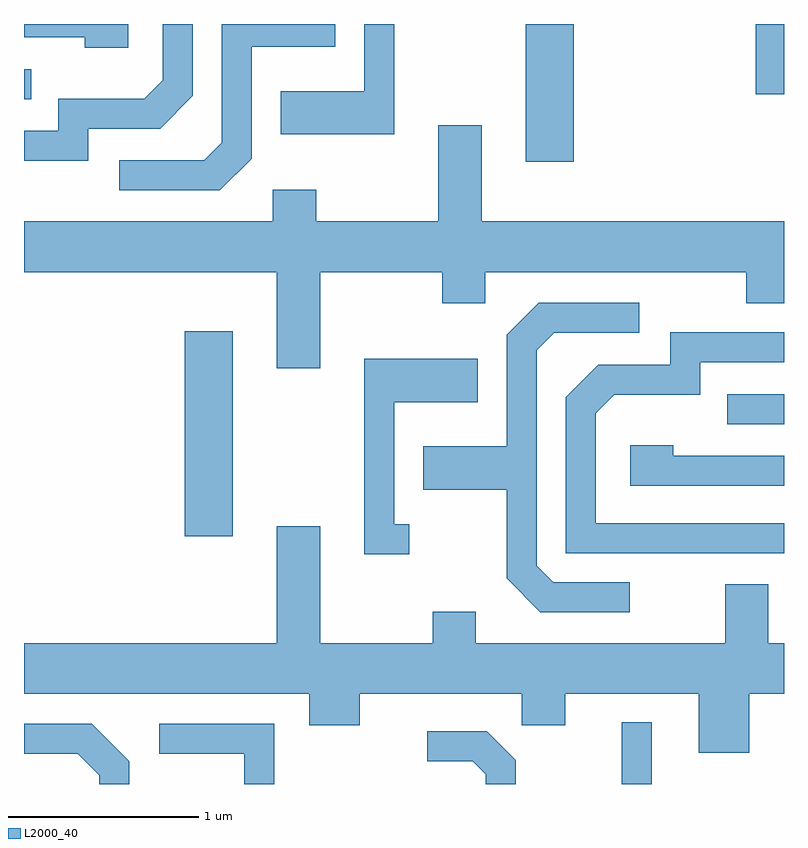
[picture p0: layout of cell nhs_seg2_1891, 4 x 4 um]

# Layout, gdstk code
import gdstk
lib = gdstk.Library(unit=1e-6, precision=1e-09)
def R(c, l, rs):  # rectangles x0, y0, x1, y1
    for r in rs: c.add(gdstk.rectangle(r[:2], r[2:], *l))
def P(c, l, *ps):  # polygons
    for p in ps: c.add(gdstk.Polygon(p, *l))
L2000_40 = (2000, 40)

nhs_seg2_1891 = lib.new_cell('nhs_seg2_1891')
R(nhs_seg2_1891, L2000_40, [(242.756,1087.802,242.914,1088.128), (240.456,1089.106,240.709,1090.184), (243.313,1089.696,243.611,1089.854), (242.251,1091.076,242.504,1091.802), (239.611,1091.406,239.648,1091.564), (243.461,1091.431,243.611,1091.802)])
P(nhs_seg2_1891, L2000_40, [(241.559,1091.802),(241.401,1091.802),(241.401,1091.449),(240.961,1091.449),(240.961,1091.221),(241.559,1091.221)],
  [(240.159,1091.802),(239.611,1091.802),(239.611,1091.731),(239.931,1091.731),(239.931,1091.676),(240.159,1091.676)],
  [(239.949,1091.251),(240.327,1091.251),(240.499,1091.424),(240.499,1091.802),(240.341,1091.802),(240.341,1091.507),(240.244,1091.409),(239.791,1091.409),(239.791,1091.239),(239.611,1091.239),(239.611,1091.081),(239.949,1091.081)],
  [(240.809,1091.094),(240.809,1091.681),(241.249,1091.681),(241.249,1091.802),(240.651,1091.802),(240.651,1091.177),(240.559,1091.084),(240.113,1091.084),(240.113,1090.926),(240.642,1090.926)],
  [(240.941,1089.991),(241.169,1089.991),(241.169,1090.496),(241.811,1090.496),(241.811,1090.331),(242.039,1090.331),(242.039,1090.496),(243.411,1090.496),(243.411,1090.331),(243.611,1090.331),(243.611,1090.764),(242.019,1090.764),(242.019,1091.269),(241.791,1091.269),(241.791,1090.764),(241.149,1090.764),(241.149,1090.929),(240.921,1090.929),(240.921,1090.764),(239.611,1090.764),(239.611,1090.496),(240.941,1090.496)],
  [(242.798,1088.864),(242.397,1088.864),(242.309,1088.952),(242.309,1090.084),(242.402,1090.176),(242.848,1090.176),(242.848,1090.334),(242.319,1090.334),(242.151,1090.167),(242.151,1089.579),(241.711,1089.579),(241.711,1089.351),(242.151,1089.351),(242.151,1088.884),(242.329,1088.706),(242.798,1088.706)],
  [(243.611,1089.174),(242.619,1089.174),(242.619,1089.754),(242.717,1089.851),(243.169,1089.851),(243.169,1090.021),(243.611,1090.021),(243.611,1090.179),(243.011,1090.179),(243.011,1090.009),(242.634,1090.009),(242.461,1089.837),(242.461,1089.016),(243.611,1089.016)],
  [(241.638,1089.169),(241.559,1089.169),(241.559,1089.811),(241.999,1089.811),(241.999,1090.039),(241.401,1090.039),(241.401,1089.011),(241.638,1089.011)],
  [(243.611,1089.529),(243.029,1089.529),(243.029,1089.584),(242.801,1089.584),(242.801,1089.371),(243.611,1089.371)],
  [(243.429,1088.276),(243.611,1088.276),(243.611,1088.544),(243.529,1088.544),(243.529,1088.854),(243.301,1088.854),(243.301,1088.544),(241.989,1088.544),(241.989,1088.709),(241.761,1088.709),(241.761,1088.544),(241.169,1088.544),(241.169,1089.159),(240.941,1089.159),(240.941,1088.544),(239.611,1088.544),(239.611,1088.276),(241.111,1088.276),(241.111,1088.111),(241.379,1088.111),(241.379,1088.276),(242.231,1088.276),(242.231,1088.111),(242.459,1088.111),(242.459,1088.276),(243.161,1088.276),(243.161,1087.966),(243.429,1087.966)],
  [(240.164,1087.922),(239.967,1088.119),(239.611,1088.119),(239.611,1087.961),(239.894,1087.961),(240.006,1087.849),(240.006,1087.802),(240.164,1087.802)],
  [(240.929,1088.119),(240.323,1088.119),(240.323,1087.961),(240.771,1087.961),(240.771,1087.802),(240.929,1087.802)],
  [(242.199,1087.927),(242.047,1088.079),(241.733,1088.079),(241.733,1087.921),(241.974,1087.921),(242.041,1087.854),(242.041,1087.802),(242.199,1087.802)])

lib.write_gds('nhs_seg2_1891.gds')
